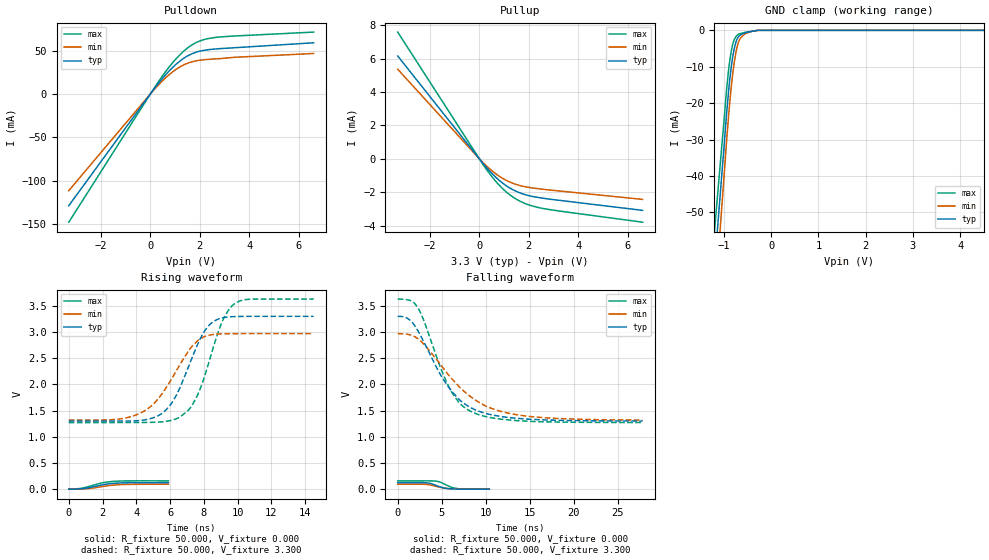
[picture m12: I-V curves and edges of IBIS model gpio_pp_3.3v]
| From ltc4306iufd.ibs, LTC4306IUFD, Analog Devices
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[Model]   gpio_pp_3.3v
Model_type I/O
Vinl=8.000E-01
Vinh=2.000E+00
Vref=0.000E+00
Rref=1.000E+06
Cref=0.000E+00
Vmeas=1.650E+00
C_comp   8.470E-13   7.660E-13   8.870E-13
|[Model spec]
|Vinl
|Vinh
[Voltage Range]   3.300E+00   2.970E+00   3.630E+00
[POWER Clamp Reference]   3.300E+00   2.970E+00   3.630E+00
[GND Clamp Reference]   0.000E+00   0.000E+00   0.000E+00
[Pullup Reference]   3.300E+00   2.970E+00   3.630E+00
[Pulldown Reference]   0.000E+00   0.000E+00   0.000E+00
[Temperature Range]   25   85   -40
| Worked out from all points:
|   slope of the pulldown table from 0 to 0.495 V, typ, clamps not added: 27.4 ohm
|   slope of the pullup table from 0 to 0.495 V, typ, clamps not added: 579 ohm
|   GND clamp passes 1 mA (typ) near -0.61 V on its own axis
|   rising waveform, R_fixture 50.000, V_fixture 0.000: 20-80 % time 1.18ns typ, 1.21ns min, 1.14ns max; typ from 0 V to 0.124 V
|   falling waveform, R_fixture 50.000, V_fixture 0.000: 20-80 % time 1.29ns typ, 1.51ns min, 1.28ns max; typ from 0.124 V to 0 V
|   rising waveform, R_fixture 50.000, V_fixture 3.300: 20-80 % time 1.63ns typ, 2.01ns min, 1.49ns max; typ from 1.3 V to 3.3 V
|   falling waveform, R_fixture 50.000, V_fixture 3.300: 20-80 % time 4.36ns typ, 5.7ns min, 3.48ns max; typ from 3.3 V to 1.3 V
[GND Clamp]
-3.3V     -409.2mA   -450.2mA   -372.8mA
-1.02V    -35.79mA   -44.36mA   -28.24mA
-940mV    -22.61mA   -30.04mA   -16.02mA
-900mV    -16.72mA   -23.51mA   -10.93mA
-860mV    -11.78mA   -17.74mA   -6.993mA
-820mV    -7.902mA   -12.82mA   -4.27mA
-760mV    -3.961mA   -7.207mA   -2.056mA
-720mV    -2.416mA   -4.593mA   -1.354mA
-680mV    -1.59mA    -2.924mA   -996.5uA
-560mV    -713.7uA   -1.003mA   -558uA
-280mV    0A         0A         0A
6.6V      0A         0A         0A
[Power Clamp]
-3.3V     0A         0A         0A
0V        0A         0A         0A
3.3V      0A         0A         0A
6.6V      0A         0A         0A
[Pullup]
-3.3V     6.158mA    5.363mA    7.59mA
220mV     -405.6uA   -330.8uA   -496uA
700mV     -1.157mA   -936.6uA   -1.414mA
1.18V     -1.704mA   -1.36mA    -2.1mA
1.46V     -1.929mA   -1.524mA   -2.391mA
1.76V     -2.106mA   -1.648mA   -2.624mA
2.46V     -2.337mA   -1.809mA   -2.946mA
6.6V      -3.092mA   -2.434mA   -3.801mA
[Pulldown]
-3.3V     -128.9mA   -111.5mA   -147.9mA
160mV     6.118mA    5.236mA    7.075mA
600mV     21.54mA    18.18mA    25.17mA
900mV     30.48mA    25.39mA    35.97mA
1.2V      37.92mA    31.16mA    45.26mA
1.48V     43.43mA    35.13mA    52.43mA
1.96V     49.02mA    38.62mA    60.54mA
2.26V     50.62mA    39.59mA    63.31mA
2.58V     51.66mA    40.26mA    64.91mA
6.6V      58.93mA    46.58mA    71.25mA
[Rising Waveform]
R_fixture = 50.000
V_fixture = 0.000
V_fixture_min = 0.000
V_fixture_max = 0.000
|  time   V(typ)   V(min)   V(max)
0s        0V         0V         0V
500ps     2.292mV    643.5uV    7.512mV
900ps     12.54mV    5.106mV    27.44mV
1.4ns     41.57mV    20.39mV    70.38mV
1.9ns     76.71mV    45.71mV    114.3mV
2.2ns     93.82mV    60.73mV    132.6mV
2.6ns     109.2mV    75.94mV    147.1mV
3.1ns     118.6mV    86.82mV    155.2mV
3.6ns     122.4mV    91.26mV    158.2mV
5.9ns     124.1mV    93.85mV    159mV
[Falling Waveform]
R_fixture = 50.000
V_fixture = 0.000
V_fixture_min = 0.000
V_fixture_max = 0.000
|  time   V(typ)   V(min)   V(max)
0s        124.1mV    93.85mV    159mV
3.1ns     122.9mV    92.43mV    159mV
3.7ns     109.3mV    79.97mV    158.2mV
4.2ns     82.08mV    60.5mV     155mV
4.8ns     43.47mV    35.43mV    135mV
5.4ns     18.23mV    17.44mV    89.31mV
6.1ns     5.452mV    6.728mV    37.44mV
6.7ns     1.832mV    3.393mV    13mV
7.7ns     693.6uV    1.582mV    589.3uV
10.4ns    0V         0V         0V
[Rising Waveform]
R_fixture = 50.000
V_fixture = 3.300
V_fixture_min = 2.970
V_fixture_max = 3.630
|  time   V(typ)   V(min)   V(max)
0s        1.301V     1.319V     1.272V
4.3ns     1.314V     1.462V     1.274V
5.6ns     1.466V     1.857V     1.288V
6.5ns     1.877V     2.333V     1.363V
7.3ns     2.509V     2.73V      1.598V
8.1ns     3.047V     2.92V      2.213V
9ns       3.264V     2.965V     3.133V
9.7ns     3.294V     2.97V      3.511V
10.6ns    3.3V       2.97V      3.625V
14.5ns    3.3V       2.97V      3.63V
[Falling Waveform]
R_fixture = 50.000
V_fixture = 3.300
V_fixture_min = 2.970
V_fixture_max = 3.630
|  time   V(typ)   V(min)   V(max)
0s        3.3V       2.97V      3.63V
1.4ns     3.228V     2.948V     3.605V
2.2ns     3.052V     2.884V     3.486V
2.9ns     2.833V     2.782V     3.247V
5.8ns     1.943V     2.175V     1.957V
6.9ns     1.725V     1.971V     1.667V
8.3ns     1.555V     1.764V     1.484V
10.8ns    1.415V     1.533V     1.359V
14ns      1.346V     1.409V     1.304V
27.8ns    1.301V     1.319V     1.272V
[Ramp]
dV/dt_r   7.4012E-02/1.1737E-09   5.6000E-2/1.2107E-09   9.4989E-02/1.1379E-09
dV/dt_f   1.1995E+00/4.3597E-09   9.9083E-01/5.6650E-09   1.4146E+00/3.4443E-09
R_load = 50
